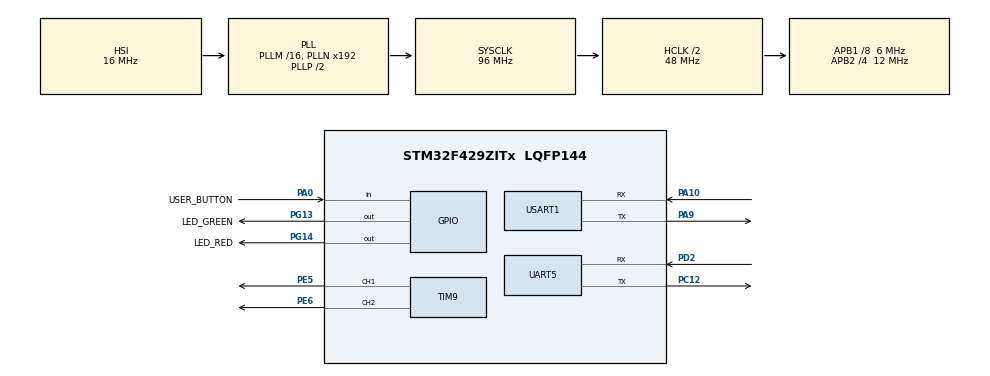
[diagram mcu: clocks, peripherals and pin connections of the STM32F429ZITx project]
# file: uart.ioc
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Mcu.Family=STM32F4
Mcu.Name=STM32F429ZITx
Mcu.Package=LQFP144
NVIC.PriorityGroup=NVIC_PRIORITYGROUP_4
NVIC.TIM7_IRQn=true\:0\:0\:false\:false\:true\:true\:true
NVIC.UART5_IRQn=true\:0\:0\:false\:false\:true\:true\:true
NVIC.USART1_IRQn=true\:0\:0\:false\:false\:true\:true\:true
PA0/WKUP.GPIO_Label=USER_BUTTON
PA0/WKUP.Signal=GPIO_Input
PA10.Mode=Asynchronous
PA10.Signal=USART1_RX
PA9.Mode=Asynchronous
PA9.Signal=USART1_TX
PC12.Mode=Asynchronous
PC12.Signal=UART5_TX
PD2.Mode=Asynchronous
PD2.Signal=UART5_RX
PE5.Signal=S_TIM9_CH1
PE6.Signal=S_TIM9_CH2
PG13.GPIO_Label=LED_GREEN
PG13.Signal=GPIO_Output
PG14.GPIO_Label=LED_RED
PG14.Signal=GPIO_Output
ProjectManager.HeapSize=0x1000
ProjectManager.StackSize=0x1000
ProjectManager.TargetToolchain=TrueSTUDIO
RCC.48MHZClocksFreq_Value=48000000
RCC.AHBCLKDivider=RCC_SYSCLK_DIV2
RCC.AHBFreq_Value=48000000
RCC.APB1CLKDivider=RCC_HCLK_DIV8
RCC.APB1Freq_Value=6000000
RCC.APB1TimFreq_Value=12000000
RCC.APB2CLKDivider=RCC_HCLK_DIV4
RCC.APB2Freq_Value=12000000
RCC.APB2TimFreq_Value=24000000
RCC.CortexFreq_Value=48000000
RCC.HCLKFreq_Value=48000000
RCC.HSE_VALUE=25000000
RCC.HSI_VALUE=16000000
RCC.LSE_VALUE=32768
RCC.SYSCLKFreq_VALUE=96000000
RCC.SYSCLKSource=RCC_SYSCLKSOURCE_PLLCLK
RCC.VCOOutputFreq_Value=192000000
SH.S_TIM9_CH1.0=TIM9_CH1,PWM Generation1 CH1
SH.S_TIM9_CH2.0=TIM9_CH2,PWM Generation2 CH2
TIM7.Period=1000
TIM7.Prescaler=5
TIM9.Channel-PWM\ Generation1\ CH1=TIM_CHANNEL_1
TIM9.Channel-PWM\ Generation2\ CH2=TIM_CHANNEL_2
UART5.VirtualMode=Asynchronous
USART1.VirtualMode=VM_ASYNC
VP_TIM7_VS_ClockSourceINT.Mode=Enable_Timer
VP_TIM9_VS_ClockSourceINT.Mode=Internal
board=custom

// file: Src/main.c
/* USER CODE BEGIN Header */
/**
  ******************************************************************************
  * @file           : main.c
  * @brief          : Main program body
  ******************************************************************************
  * @attention
  *
  * <h2><center>&copy; Copyright (c) 2019 STMicroelectronics.
  * All rights reserved.</center></h2>
  *
  * This software component is licensed by ST under BSD 3-Clause license,
  * the "License"; You may not use this file except in compliance with the
  * License. You may obtain a copy of the License at:
  *                        opensource.org/licenses/BSD-3-Clause
  *
  ******************************************************************************
  */
/* USER CODE END Header */

#include "main.h"

/* USER CODE BEGIN Includes */
#include <stdio.h>
#include "cuart.h"
#include "cgpio.h"

/* USER CODE END Includes */

TIM_HandleTypeDef htim7;
TIM_HandleTypeDef htim9;

UART_HandleTypeDef huart5;
UART_HandleTypeDef huart1;

void SystemClock_Config(void);
static void MX_GPIO_Init(void);

static void MX_USART1_UART_Init(void);
static void MX_UART5_Init(void);
static void MX_TIM7_Init(void);
static void MX_TIM9_Init(void);

int main(void)
{
  /* USER CODE BEGIN 1 */
  setvbuf(stdout, NULL, _IONBF, 0);
  /* USER CODE END 1 */

  /* MCU Configuration--------------------------------------------------------*/

  /* Reset of all peripherals, Initializes the Flash interface and the Systick. */
  HAL_Init();

  /* Configure the system clock */
  SystemClock_Config();

  /* Initialize all configured peripherals */
  MX_GPIO_Init();
  MX_USART1_UART_Init();
  MX_UART5_Init();
  MX_TIM7_Init();
  MX_TIM9_Init();
  /* USER CODE BEGIN 2 */
  //printf("\nProgram started ! [%s]\r\n",__DATE__);

  dbg_setup();
  /* USER CODE END 2 */

  /* Infinite loop */
  while (1)
  {

    /* USER CODE BEGIN 3 */
	dbg_command_scan();
/*TODO : add ext isr for the button */
	if (BUTTON_READ()){
		TOGGLE_GREEN_LED();
	}
  }
  /* USER CODE END 3 */
}

void SystemClock_Config(void)
{
  RCC_OscInitTypeDef RCC_OscInitStruct = {0};
  RCC_ClkInitTypeDef RCC_ClkInitStruct = {0};

  /** Configure the main internal regulator output voltage
  */
  __HAL_RCC_PWR_CLK_ENABLE();
  __HAL_PWR_VOLTAGESCALING_CONFIG(PWR_REGULATOR_VOLTAGE_SCALE3);
  /** Initializes the CPU, AHB and APB busses clocks
  */
  RCC_OscInitStruct.OscillatorType = RCC_OSCILLATORTYPE_HSI;
  RCC_OscInitStruct.HSIState = RCC_HSI_ON;
  RCC_OscInitStruct.HSICalibrationValue = RCC_HSICALIBRATION_DEFAULT;
  RCC_OscInitStruct.PLL.PLLState = RCC_PLL_ON;
  RCC_OscInitStruct.PLL.PLLSource = RCC_PLLSOURCE_HSI;
  RCC_OscInitStruct.PLL.PLLM = 16;
  RCC_OscInitStruct.PLL.PLLN = 192;
  RCC_OscInitStruct.PLL.PLLP = RCC_PLLP_DIV2;
  RCC_OscInitStruct.PLL.PLLQ = 4;
  if (HAL_RCC_OscConfig(&RCC_OscInitStruct) != HAL_OK)
  {
    Error_Handler();
  }
  /** Initializes the CPU, AHB and APB busses clocks
  */
  RCC_ClkInitStruct.ClockType = RCC_CLOCKTYPE_HCLK|RCC_CLOCKTYPE_SYSCLK
                              |RCC_CLOCKTYPE_PCLK1|RCC_CLOCKTYPE_PCLK2;
  RCC_ClkInitStruct.SYSCLKSource = RCC_SYSCLKSOURCE_PLLCLK;
  RCC_ClkInitStruct.AHBCLKDivider = RCC_SYSCLK_DIV2;
  RCC_ClkInitStruct.APB1CLKDivider = RCC_HCLK_DIV8;
  RCC_ClkInitStruct.APB2CLKDivider = RCC_HCLK_DIV4;

  if (HAL_RCC_ClockConfig(&RCC_ClkInitStruct, FLASH_LATENCY_1) != HAL_OK)
  {
    Error_Handler();
  }
}

static void MX_TIM7_Init(void)
{

  TIM_MasterConfigTypeDef sMasterConfig = {0};

  /* USER CODE BEGIN TIM7_Init 1 */
	#define TIM7_FREQ_DIV 10000
	uint32_t tim7_prescaler = (uint32_t) ((SystemCoreClock) / 4 / TIM7_FREQ_DIV) - 1;
  /* USER CODE END TIM7_Init 1 */
  htim7.Instance = TIM7;
  htim7.Init.Prescaler = tim7_prescaler;
  htim7.Init.CounterMode = TIM_COUNTERMODE_UP;
  htim7.Init.Period = 1000;
  htim7.Init.AutoReloadPreload = TIM_AUTORELOAD_PRELOAD_DISABLE;
  if (HAL_TIM_Base_Init(&htim7) != HAL_OK)
  {
    Error_Handler();
  }
  sMasterConfig.MasterOutputTrigger = TIM_TRGO_RESET;
  sMasterConfig.MasterSlaveMode = TIM_MASTERSLAVEMODE_DISABLE;
  if (HAL_TIMEx_MasterConfigSynchronization(&htim7, &sMasterConfig) != HAL_OK)
  {
    Error_Handler();
  }
  /* USER CODE BEGIN TIM7_Init 2 */
	HAL_TIM_Base_Start_IT(&htim7);
  /* USER CODE END TIM7_Init 2 */

}

static void MX_TIM9_Init(void)
{

  TIM_ClockConfigTypeDef sClockSourceConfig = {0};
  TIM_OC_InitTypeDef sConfigOC = {0};

  /* USER CODE BEGIN TIM9_Init 1 */
	#define TIM9_PERIOD_SETUP 1000
	uint32_t uwPrescalerValue = ((SystemCoreClock *4) / 10000000) - 1; //10 MHz  clock
  /* USER CODE END TIM9_Init 1 */
  htim9.Instance = TIM9;
  htim9.Init.Prescaler = uwPrescalerValue;
  htim9.Init.CounterMode = TIM_COUNTERMODE_UP;
  htim9.Init.Period = TIM9_PERIOD_SETUP;
  htim9.Init.ClockDivision = TIM_CLOCKDIVISION_DIV1;
  htim9.Init.AutoReloadPreload = TIM_AUTORELOAD_PRELOAD_DISABLE;
  if (HAL_TIM_Base_Init(&htim9) != HAL_OK)
  {
    Error_Handler();
  }
  sClockSourceConfig.ClockSource = TIM_CLOCKSOURCE_INTERNAL;
  if (HAL_TIM_ConfigClockSource(&htim9, &sClockSourceConfig) != HAL_OK)
  {
    Error_Handler();
  }
  if (HAL_TIM_PWM_Init(&htim9) != HAL_OK)
  {
    Error_Handler();
  }
  sConfigOC.OCMode = TIM_OCMODE_PWM1;
  sConfigOC.Pulse = 100;
  sConfigOC.OCPolarity = TIM_OCPOLARITY_HIGH;
  sConfigOC.OCFastMode = TIM_OCFAST_DISABLE;
  if (HAL_TIM_PWM_ConfigChannel(&htim9, &sConfigOC, TIM_CHANNEL_1) != HAL_OK)
  {
    Error_Handler();
  }
    sConfigOC.Pulse = 200;
  if (HAL_TIM_PWM_ConfigChannel(&htim9, &sConfigOC, TIM_CHANNEL_2) != HAL_OK)
  {
    Error_Handler();
  }
  /* USER CODE BEGIN TIM9_Init 2 */
	if (HAL_TIM_PWM_Start(&htim9, TIM_CHANNEL_1) != HAL_OK)
	{
		Error_Handler();
	}
	if (HAL_TIM_PWM_Start(&htim9, TIM_CHANNEL_2) != HAL_OK)
	{
		Error_Handler();
	}
	/* USER CODE END TIM9_Init 2 */
  HAL_TIM_MspPostInit(&htim9);

}

static void MX_UART5_Init(void)
{

  huart5.Instance = UART5;
  huart5.Init.BaudRate = 115200;
  huart5.Init.WordLength = UART_WORDLENGTH_8B;
  huart5.Init.StopBits = UART_STOPBITS_1;
  huart5.Init.Parity = UART_PARITY_NONE;
  huart5.Init.Mode = UART_MODE_TX_RX;
  huart5.Init.HwFlowCtl = UART_HWCONTROL_NONE;
  huart5.Init.OverSampling = UART_OVERSAMPLING_16;
  if (HAL_UART_Init(&huart5) != HAL_OK)
  {
    Error_Handler();
  }

}

static void MX_USART1_UART_Init(void)
{

  huart1.Instance = USART1;
  huart1.Init.BaudRate = 115200;
  huart1.Init.WordLength = UART_WORDLENGTH_8B;
  huart1.Init.StopBits = UART_STOPBITS_1;
  huart1.Init.Parity = UART_PARITY_NONE;
  huart1.Init.Mode = UART_MODE_TX_RX;
  huart1.Init.HwFlowCtl = UART_HWCONTROL_NONE;
  huart1.Init.OverSampling = UART_OVERSAMPLING_16;
  if (HAL_UART_Init(&huart1) != HAL_OK)
  {
    Error_Handler();
  }

}

static void MX_GPIO_Init(void)
{
  GPIO_InitTypeDef GPIO_InitStruct = {0};

  /* GPIO Ports Clock Enable */
  __HAL_RCC_GPIOE_CLK_ENABLE();
  __HAL_RCC_GPIOA_CLK_ENABLE();
  __HAL_RCC_GPIOC_CLK_ENABLE();
  __HAL_RCC_GPIOD_CLK_ENABLE();
  __HAL_RCC_GPIOG_CLK_ENABLE();

  /*Configure GPIO pin Output Level */
  HAL_GPIO_WritePin(GPIOG, LED_GREEN_Pin|LED_RED_Pin, GPIO_PIN_RESET);

  /*Configure GPIO pin : USER_BUTTON_Pin */
  GPIO_InitStruct.Pin = USER_BUTTON_Pin;
  GPIO_InitStruct.Mode = GPIO_MODE_INPUT;
  GPIO_InitStruct.Pull = GPIO_NOPULL;
  HAL_GPIO_Init(USER_BUTTON_GPIO_Port, &GPIO_InitStruct);

  /*Configure GPIO pins : LED_GREEN_Pin LED_RED_Pin */
  GPIO_InitStruct.Pin = LED_GREEN_Pin|LED_RED_Pin;
  GPIO_InitStruct.Mode = GPIO_MODE_OUTPUT_PP;
  GPIO_InitStruct.Pull = GPIO_NOPULL;
  GPIO_InitStruct.Speed = GPIO_SPEED_FREQ_LOW;
  HAL_GPIO_Init(GPIOG, &GPIO_InitStruct);

}

void Error_Handler(void)
{
}

/************************ (C) COPYRIGHT STMicroelectronics *****END OF FILE****/
